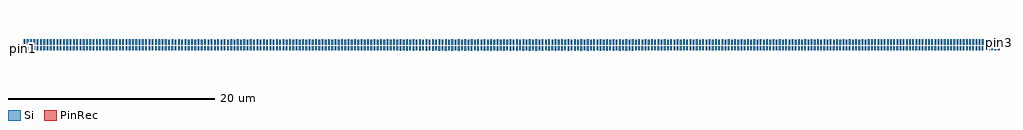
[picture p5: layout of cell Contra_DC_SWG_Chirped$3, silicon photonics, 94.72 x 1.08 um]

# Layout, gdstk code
import gdstk
lib = gdstk.Library(unit=1e-6, precision=1e-09)
def R(c, l, rs):  # rectangles x0, y0, x1, y1
    for r in rs: c.add(gdstk.rectangle(r[:2], r[2:], *l))
def A(c, l, x, y, w, h, nx, ny, dx, dy):  # array of equal rectangles
    R(c, l, [(x+i*dx, y+j*dy, x+i*dx+w, y+j*dy+h) for i in range(nx) for j in range(ny)])
Si = (1, 0)
PinRec = (1, 10)

contra_dc_swg_chirped_3 = lib.new_cell('Contra_DC_SWG_Chirped$3')
A(contra_dc_swg_chirped_3, Si, 43.325, -0.229, 0.159, 0.399, 4, 1, 0.627, 0)
A(contra_dc_swg_chirped_3, Si, 16.18, -0.206, 0.159, 0.399, 3, 1, 0.635, 0)
A(contra_dc_swg_chirped_3, Si, 77.547, -0.206, 0.157, 0.399, 3, 1, 0.617, 0)
A(contra_dc_swg_chirped_3, Si, 13.001, -0.204, 0.159, 0.399, 3, 1, 0.636, 0)
A(contra_dc_swg_chirped_3, Si, 80.63, -0.204, 0.157, 0.399, 4, 1, 0.616, 0)
A(contra_dc_swg_chirped_3, Si, 9.817, -0.203, 0.16, 0.399, 4, 1, 0.637, 0)
A(contra_dc_swg_chirped_3, Si, 83.709, -0.203, 0.157, 0.399, 3, 1, 0.615, 0)
A(contra_dc_swg_chirped_3, Si, 6.629, -0.202, 0.16, 0.399, 3, 1, 0.638, 0)
A(contra_dc_swg_chirped_3, Si, 2.798, -0.201, 0.16, 0.399, 3, 1, 0.639, 0)
A(contra_dc_swg_chirped_3, Si, 89.852, -0.201, 0.157, 0.399, 5, 1, 0.613, 0)
A(contra_dc_swg_chirped_3, Si, 0.239, -0.2, 0.16, 0.399, 3, 1, 0.64, 0)
A(contra_dc_swg_chirped_3, Si, 0.559, -0.2, 0.16, 0.4, 3, 1, 0.64, 0)
A(contra_dc_swg_chirped_3, Si, 2.478, -0.2, 0.16, 0.4, 4, 1, 0.639, 0)
A(contra_dc_swg_chirped_3, Si, 5.672, -0.2, 0.16, 0.4, 5, 1, 0.638, 0)
A(contra_dc_swg_chirped_3, Si, 12.683, -0.2, 0.159, 0.4, 4, 1, 0.636, 0)
A(contra_dc_swg_chirped_3, Si, 19.671, -0.2, 0.159, 0.4, 4, 1, 0.634, 0)
A(contra_dc_swg_chirped_3, Si, 22.84, -0.2, 0.159, 0.4, 5, 1, 0.633, 0)
A(contra_dc_swg_chirped_3, Si, 29.164, -0.2, 0.159, 0.4, 6, 1, 0.631, 0)
A(contra_dc_swg_chirped_3, Si, 36.099, -0.2, 0.159, 0.4, 5, 1, 0.629, 0)
A(contra_dc_swg_chirped_3, Si, 43.012, -0.2, 0.158, 0.4, 5, 1, 0.627, 0)
A(contra_dc_swg_chirped_3, Si, 46.773, -0.2, 0.158, 0.4, 4, 1, 0.626, 0)
A(contra_dc_swg_chirped_3, Si, 49.902, -0.2, 0.158, 0.4, 5, 1, 0.625, 0)
A(contra_dc_swg_chirped_3, Si, 53.651, -0.2, 0.158, 0.4, 3, 1, 0.624, 0)
A(contra_dc_swg_chirped_3, Si, 57.393, -0.2, 0.158, 0.4, 3, 1, 0.623, 0)
A(contra_dc_swg_chirped_3, Si, 59.884, -0.2, 0.158, 0.4, 5, 1, 0.622, 0)
A(contra_dc_swg_chirped_3, Si, 63.615, -0.2, 0.158, 0.4, 3, 1, 0.621, 0)
A(contra_dc_swg_chirped_3, Si, 66.719, -0.2, 0.158, 0.4, 4, 1, 0.62, 0)
A(contra_dc_swg_chirped_3, Si, 70.438, -0.2, 0.157, 0.4, 4, 1, 0.619, 0)
A(contra_dc_swg_chirped_3, Si, 73.532, -0.2, 0.157, 0.4, 4, 1, 0.618, 0)
A(contra_dc_swg_chirped_3, Si, 76.621, -0.2, 0.157, 0.4, 6, 1, 0.617, 0)
A(contra_dc_swg_chirped_3, Si, 80.322, -0.2, 0.157, 0.4, 5, 1, 0.616, 0)
A(contra_dc_swg_chirped_3, Si, 83.401, -0.2, 0.157, 0.4, 5, 1, 0.615, 0)
A(contra_dc_swg_chirped_3, Si, 87.09, -0.2, 0.157, 0.4, 3, 1, 0.614, 0)
A(contra_dc_swg_chirped_3, Si, 90.159, -0.2, 0.156, 0.4, 4, 1, 0.613, 0)
A(contra_dc_swg_chirped_3, Si, 50.531, 0.311, 0.158, 0.499, 3, 1, 0.625, 0)
A(contra_dc_swg_chirped_3, Si, 53.655, 0.313, 0.158, 0.499, 3, 1, 0.624, 0)
A(contra_dc_swg_chirped_3, Si, 6.311, 0.348, 0.16, 0.499, 3, 1, 0.638, 0)
A(contra_dc_swg_chirped_3, Si, 87.71, 0.348, 0.157, 0.499, 4, 1, 0.614, 0)
A(contra_dc_swg_chirped_3, Si, 0.559, 0.349, 0.16, 0.499, 3, 1, 0.64, 0)
A(contra_dc_swg_chirped_3, Si, 90.779, 0.349, 0.156, 0.499, 3, 1, 0.613, 0)
A(contra_dc_swg_chirped_3, Si, 2.798, 0.35, 0.16, 0.5, 4, 1, 0.639, 0)
A(contra_dc_swg_chirped_3, Si, 9.181, 0.35, 0.16, 0.5, 4, 1, 0.637, 0)
A(contra_dc_swg_chirped_3, Si, 13.002, 0.35, 0.159, 0.5, 4, 1, 0.636, 0)
A(contra_dc_swg_chirped_3, Si, 16.181, 0.35, 0.159, 0.5, 5, 1, 0.635, 0)
A(contra_dc_swg_chirped_3, Si, 19.989, 0.35, 0.16, 0.5, 3, 1, 0.634, 0)
A(contra_dc_swg_chirped_3, Si, 22.525, 0.35, 0.159, 0.5, 6, 1, 0.633, 0)
A(contra_dc_swg_chirped_3, Si, 28.218, 0.35, 0.159, 0.5, 3, 1, 0.632, 0)
A(contra_dc_swg_chirped_3, Si, 30.113, 0.35, 0.159, 0.5, 4, 1, 0.631, 0)
A(contra_dc_swg_chirped_3, Si, 33.267, 0.35, 0.159, 0.5, 5, 1, 0.63, 0)
A(contra_dc_swg_chirped_3, Si, 37.046, 0.35, 0.158, 0.5, 3, 1, 0.629, 0)
A(contra_dc_swg_chirped_3, Si, 41.446, 0.35, 0.158, 0.5, 3, 1, 1.255, 0)
A(contra_dc_swg_chirped_3, Si, 47.089, 0.35, 0.159, 0.5, 3, 1, 0.626, 0)
A(contra_dc_swg_chirped_3, Si, 49.593, 0.35, 0.158, 0.5, 3, 1, 0.625, 0)
A(contra_dc_swg_chirped_3, Si, 53.967, 0.35, 0.158, 0.5, 3, 1, 0.624, 0)
A(contra_dc_swg_chirped_3, Si, 63.309, 0.35, 0.158, 0.5, 5, 1, 0.621, 0)
A(contra_dc_swg_chirped_3, Si, 67.034, 0.35, 0.158, 0.5, 4, 1, 0.62, 0)
A(contra_dc_swg_chirped_3, Si, 70.753, 0.35, 0.157, 0.5, 3, 1, 0.619, 0)
A(contra_dc_swg_chirped_3, Si, 73.846, 0.35, 0.158, 0.5, 3, 1, 0.618, 0)
A(contra_dc_swg_chirped_3, Si, 80.02, 0.35, 0.157, 0.5, 5, 1, 0.616, 0)
A(contra_dc_swg_chirped_3, Si, 83.715, 0.35, 0.157, 0.5, 4, 1, 0.615, 0)
A(contra_dc_swg_chirped_3, Si, 86.789, 0.35, 0.157, 0.5, 5, 1, 0.614, 0)
A(contra_dc_swg_chirped_3, Si, 90.472, 0.35, 0.157, 0.5, 3, 1, 0.613, 0)
R(contra_dc_swg_chirped_3, Si, [(47.712,-0.23,47.87,0.17), (45.833,-0.229,45.991,0.17), (46.459,-0.229,46.618,0.17), (47.086,-0.229,47.244,0.17), (48.338,-0.229,48.496,0.17), (48.964,-0.229,49.122,0.17), (49.589,-0.229,49.747,0.17), (50.214,-0.229,50.373,0.17), (50.84,-0.229,50.998,0.17), (51.465,-0.229,51.623,0.17), (52.089,-0.229,52.248,0.17), (41.442,-0.228,41.601,0.171), (42.07,-0.228,42.229,0.171), (42.698,-0.228,42.856,0.171), (52.714,-0.228,52.872,0.171), (53.338,-0.228,53.497,0.171), (53.963,-0.228,54.121,0.171), (40.186,-0.227,40.345,0.172), (40.815,-0.227,40.973,0.172), (54.587,-0.227,54.745,0.172), (55.211,-0.227,55.369,0.172), (38.93,-0.226,39.088,0.173), (39.558,-0.226,39.717,0.173), (55.834,-0.226,55.992,0.173), (56.458,-0.226,56.616,0.173), (37.672,-0.225,37.831,0.174), (38.301,-0.225,38.459,0.174), (57.081,-0.225,57.239,0.174), (57.704,-0.225,57.862,0.174), (36.414,-0.224,36.572,0.175), (37.043,-0.224,37.202,0.175), (58.327,-0.224,58.485,0.175), (58.95,-0.224,59.108,0.175), (35.155,-0.223,35.313,0.176), (35.784,-0.223,35.943,0.176), (59.573,-0.223,59.73,0.176), (60.195,-0.223,60.353,0.176), (33.895,-0.222,34.054,0.177), (34.525,-0.222,34.683,0.177), (60.817,-0.222,60.975,0.177), (61.439,-0.222,61.597,0.177), (33.265,-0.221,33.423,0.178), (62.061,-0.221,62.219,0.178), (32.004,-0.22,32.162,0.179), (32.634,-0.22,32.793,0.179), (62.683,-0.22,62.84,0.179), (63.304,-0.22,63.462,0.179), (31.373,-0.219,31.532,0.18), (63.926,-0.219,64.083,0.18), (30.111,-0.218,30.27,0.181), (30.742,-0.218,30.901,0.181), (64.547,-0.218,64.704,0.181), (65.168,-0.218,65.325,0.181), (29.48,-0.217,29.638,0.182), (65.788,-0.217,65.946,0.182), (28.216,-0.216,28.375,0.183), (28.848,-0.216,29.007,0.183), (66.409,-0.216,66.566,0.183), (67.029,-0.216,67.187,0.183), (27.585,-0.215,27.744,0.184), (67.649,-0.215,67.807,0.184), (26.32,-0.214,26.479,0.185), (26.953,-0.214,27.112,0.185), (68.269,-0.214,68.427,0.185), (68.889,-0.214,69.047,0.185), (25.055,-0.213,25.214,0.186), (25.688,-0.213,25.847,0.186), (69.509,-0.213,69.666,0.186), (70.128,-0.213,70.286,0.186), (24.423,-0.212,24.582,0.187), (70.747,-0.212,70.905,0.187), (23.156,-0.211,23.316,0.188), (23.79,-0.211,23.949,0.188), (71.366,-0.211,71.524,0.188), (71.985,-0.211,72.143,0.188), (21.89,-0.21,22.049,0.189), (22.523,-0.21,22.682,0.189), (72.604,-0.21,72.761,0.189), (73.222,-0.21,73.38,0.189), (20.622,-0.209,20.781,0.19), (21.256,-0.209,21.415,0.19), (73.841,-0.209,73.998,0.19), (74.459,-0.209,74.616,0.19), (19.354,-0.208,19.513,0.191), (19.988,-0.208,20.147,0.191), (75.077,-0.208,75.234,0.191), (75.695,-0.208,75.852,0.191), (18.085,-0.207,18.244,0.192), (18.719,-0.207,18.878,0.192), (76.312,-0.207,76.469,0.192), (76.93,-0.207,77.087,0.192), (14.909,-0.205,15.068,0.194), (15.544,-0.205,15.704,0.194), (79.397,-0.205,79.554,0.194), (80.014,-0.205,80.171,0.194), (12.364,-0.204,12.524,0.195), (83.093,-0.203,83.25,0.196), (8.543,-0.202,8.702,0.197), (9.18,-0.202,9.34,0.197), (85.554,-0.202,85.71,0.197), (86.168,-0.202,86.325,0.197), (86.783,-0.202,86.939,0.197), (87.397,-0.202,87.554,0.197), (88.011,-0.202,88.168,0.197), (2.158,-0.201,2.318,0.198), (4.714,-0.201,4.874,0.198), (5.353,-0.201,5.513,0.198), (5.991,-0.201,6.151,0.198), (88.625,-0.201,88.781,0.198), (89.238,-0.201,89.395,0.198), (-0.08,-0.2,0.08,0.2), (5.034,-0.2,5.193,0.2), (8.861,-0.2,9.021,0.2), (9.499,-0.2,9.658,0.2), (10.136,-0.2,10.296,0.2), (10.773,-0.2,10.933,0.2), (11.41,-0.2,11.569,0.2), (12.046,-0.2,12.206,0.2), (15.226,-0.2,15.386,0.2), (15.862,-0.2,16.021,0.2), (16.497,-0.2,16.657,0.2), (17.132,-0.2,17.292,0.2), (17.767,-0.2,17.926,0.2), (18.402,-0.2,18.561,0.2), (19.036,-0.2,19.196,0.2), (22.206,-0.2,22.366,0.2), (26.004,-0.2,26.163,0.2), (26.636,-0.2,26.795,0.2), (27.269,-0.2,27.428,0.2), (27.901,-0.2,28.059,0.2), (28.532,-0.2,28.691,0.2), (32.949,-0.2,33.108,0.2), (33.58,-0.2,33.738,0.2), (34.21,-0.2,34.369,0.2), (34.84,-0.2,34.998,0.2), (35.469,-0.2,35.628,0.2), (39.244,-0.2,39.402,0.2), (39.872,-0.2,40.031,0.2), (40.5,-0.2,40.659,0.2), (41.129,-0.2,41.287,0.2), (41.756,-0.2,41.915,0.2), (42.384,-0.2,42.543,0.2), (46.146,-0.2,46.305,0.2), (49.276,-0.2,49.435,0.2), (53.026,-0.2,53.184,0.2), (55.523,-0.2,55.68,0.2), (56.146,-0.2,56.304,0.2), (56.77,-0.2,56.927,0.2), (59.261,-0.2,59.419,0.2), (62.994,-0.2,63.151,0.2), (65.478,-0.2,65.635,0.2), (66.099,-0.2,66.256,0.2), (69.199,-0.2,69.356,0.2), (69.818,-0.2,69.976,0.2), (72.913,-0.2,73.071,0.2), (76.003,-0.2,76.161,0.2), (86.475,-0.2,86.632,0.2), (88.932,-0.2,89.088,0.2), (89.545,-0.2,89.702,0.2), (92.61,-0.2,92.767,0.2), (92.917,-0.2,93.073,0.199), (93.223,-0.2,93.379,0.2), (93.529,-0.2,93.686,0.199), (93.835,-0.2,93.992,0.2), (94.141,-0.2,94.298,0.199), (94.454,-0.2,94.611,0.2), (48.028,0.31,48.187,0.81), (44.269,0.311,44.428,0.81), (44.896,0.311,45.055,0.81), (45.523,0.311,45.681,0.81), (46.15,0.311,46.308,0.81), (46.776,0.311,46.934,0.81), (47.402,0.311,47.561,0.81), (48.654,0.311,48.812,0.81), (49.28,0.311,49.438,0.81), (49.905,0.311,50.064,0.81), (43.015,0.312,43.173,0.811), (43.642,0.312,43.8,0.811), (52.406,0.312,52.564,0.811), (53.03,0.312,53.188,0.811), (41.132,0.313,41.29,0.812), (41.759,0.313,41.918,0.812), (42.387,0.313,42.546,0.812), (40.503,0.314,40.662,0.813), (55.527,0.314,55.685,0.813), (39.247,0.315,39.405,0.814), (39.875,0.315,40.034,0.814), (56.15,0.315,56.308,0.814), (56.774,0.315,56.932,0.814), (38.618,0.316,38.777,0.815), (57.397,0.316,57.555,0.815), (37.36,0.317,37.519,0.816), (37.989,0.317,38.148,0.816), (58.02,0.317,58.178,0.816), (58.643,0.317,58.801,0.816), (36.731,0.318,36.89,0.817), (59.266,0.318,59.424,0.817), (36.102,0.319,36.26,0.818), (59.888,0.319,60.046,0.818), (34.842,0.32,35.001,0.819), (35.472,0.32,35.631,0.819), (60.511,0.32,60.668,0.819), (61.133,0.32,61.291,0.819), (34.212,0.321,34.371,0.82), (61.755,0.321,61.912,0.82), (33.582,0.322,33.741,0.821), (62.377,0.322,62.534,0.821), (32.952,0.323,33.111,0.822), (62.998,0.323,63.156,0.822), (32.321,0.324,32.48,0.823), (63.62,0.324,63.777,0.823), (31.06,0.325,31.219,0.824), (31.691,0.325,31.849,0.824), (64.241,0.325,64.398,0.824), (64.862,0.325,65.019,0.824), (30.429,0.326,30.588,0.825), (65.483,0.326,65.64,0.825), (29.797,0.327,29.956,0.826), (66.103,0.327,66.261,0.826), (29.166,0.328,29.325,0.827), (66.724,0.328,66.881,0.827), (28.534,0.329,28.693,0.828), (67.344,0.329,67.502,0.828), (27.903,0.33,28.062,0.829), (67.964,0.33,68.122,0.829), (26.638,0.331,26.797,0.83), (27.271,0.331,27.43,0.83), (68.584,0.331,68.742,0.83), (69.204,0.331,69.361,0.83), (26.006,0.332,26.165,0.831), (69.824,0.332,69.981,0.831), (25.373,0.333,25.533,0.832), (70.443,0.333,70.6,0.832), (24.741,0.334,24.9,0.833), (71.062,0.334,71.22,0.833), (23.475,0.335,23.634,0.834), (24.108,0.335,24.267,0.834), (71.681,0.335,71.839,0.834), (72.3,0.335,72.457,0.834), (22.841,0.336,23.001,0.835), (72.919,0.336,73.076,0.835), (22.208,0.337,22.367,0.836), (73.537,0.337,73.694,0.836), (20.94,0.338,21.1,0.837), (21.574,0.338,21.734,0.837), (74.155,0.338,74.313,0.837), (74.773,0.338,74.931,0.837), (20.306,0.339,20.466,0.838), (75.391,0.339,75.549,0.838), (19.038,0.34,19.197,0.839), (19.672,0.34,19.831,0.839), (76.009,0.34,76.166,0.839), (76.627,0.34,76.784,0.839), (17.768,0.341,17.928,0.84), (18.403,0.341,18.563,0.84), (77.244,0.341,77.401,0.84), (77.861,0.341,78.018,0.84), (16.498,0.342,16.658,0.841), (17.133,0.342,17.293,0.841), (78.478,0.342,78.635,0.841), (79.095,0.342,79.252,0.841), (15.227,0.343,15.387,0.842), (15.863,0.343,16.022,0.842), (79.711,0.343,79.869,0.842), (80.328,0.343,80.485,0.842), (13.956,0.344,14.115,0.843), (14.592,0.344,14.751,0.843), (80.944,0.344,81.101,0.843), (81.56,0.344,81.717,0.843), (12.047,0.345,12.207,0.844), (12.684,0.345,12.843,0.844), (13.32,0.345,13.479,0.844), (82.176,0.345,82.333,0.844), (82.792,0.345,82.949,0.844), (83.407,0.345,83.564,0.844), (10.137,0.346,10.296,0.845), (10.774,0.346,10.933,0.845), (11.41,0.346,11.57,0.845), (84.022,0.346,84.179,0.845), (84.638,0.346,84.794,0.845), (85.253,0.346,85.409,0.845), (8.225,0.347,8.384,0.846), (8.862,0.347,9.022,0.846), (9.5,0.347,9.659,0.846), (85.867,0.347,86.024,0.846), (86.482,0.347,86.639,0.846), (87.096,0.347,87.253,0.846), (5.034,0.348,5.194,0.847), (5.673,0.348,5.832,0.847), (90.165,0.348,90.322,0.847), (-0.078,0.349,0.078,0.848), (2.478,0.349,2.638,0.848), (3.117,0.349,3.277,0.848), (3.757,0.349,3.916,0.848), (4.395,0.349,4.555,0.848), (92.617,0.349,92.774,0.848), (93.23,0.349,93.386,0.848), (93.842,0.349,93.999,0.848), (94.454,0.349,94.611,0.848), (0.24,0.35,0.4,0.85), (0.879,0.35,1.039,0.85), (1.519,0.35,1.679,0.85), (2.159,0.35,2.318,0.85), (5.353,0.35,5.513,0.85), (5.992,0.35,6.151,0.85), (6.63,0.35,6.79,0.85), (7.268,0.35,7.428,0.85), (7.906,0.35,8.065,0.85), (8.543,0.35,8.703,0.85), (11.729,0.35,11.888,0.85), (12.365,0.35,12.525,0.85), (15.545,0.35,15.705,0.85), (19.355,0.35,19.514,0.85), (21.891,0.35,22.05,0.85), (26.322,0.35,26.481,0.85), (26.954,0.35,27.114,0.85), (27.587,0.35,27.746,0.85), (32.637,0.35,32.795,0.85), (36.416,0.35,36.575,0.85), (38.932,0.35,39.091,0.85), (39.561,0.35,39.72,0.85), (40.189,0.35,40.348,0.85), (40.818,0.35,40.976,0.85), (42.073,0.35,42.232,0.85), (43.328,0.35,43.487,0.85), (44.583,0.35,44.741,0.85), (45.21,0.35,45.368,0.85), (45.836,0.35,45.995,0.85), (46.463,0.35,46.621,0.85), (48.967,0.35,49.125,0.85), (51.468,0.35,51.627,0.85), (52.093,0.35,52.251,0.85), (52.718,0.35,52.876,0.85), (53.342,0.35,53.5,0.85), (55.838,0.35,55.996,0.85), (56.462,0.35,56.62,0.85), (57.085,0.35,57.243,0.85), (57.709,0.35,57.866,0.85), (58.332,0.35,58.489,0.85), (58.954,0.35,59.112,0.85), (59.577,0.35,59.735,0.85), (60.199,0.35,60.357,0.85), (60.822,0.35,60.979,0.85), (61.444,0.35,61.602,0.85), (62.066,0.35,62.223,0.85), (62.687,0.35,62.845,0.85), (66.414,0.35,66.571,0.85), (69.514,0.35,69.671,0.85), (70.133,0.35,70.291,0.85), (72.609,0.35,72.767,0.85), (73.228,0.35,73.385,0.85), (75.7,0.35,75.857,0.85), (76.318,0.35,76.475,0.85), (76.935,0.35,77.092,0.85), (77.553,0.35,77.71,0.85), (78.17,0.35,78.327,0.85), (78.786,0.35,78.944,0.85), (79.403,0.35,79.56,0.85), (83.099,0.35,83.256,0.85), (86.175,0.35,86.331,0.85), (89.859,0.35,90.015,0.85), (92.311,0.35,92.467,0.85), (92.924,0.35,93.08,0.85), (93.536,0.35,93.692,0.85), (94.148,0.35,94.305,0.85)])
contra_dc_swg_chirped_3.add(gdstk.FlexPath([(-0.07,0),(-0.09,0)], 0.4, ends="flush", simple_path=True, layer=1, datatype=10))  # PinRec
contra_dc_swg_chirped_3.add(gdstk.FlexPath([(-0.07,0.599),(-0.09,0.599)], 0.5, ends="flush", simple_path=True, layer=1, datatype=10))  # PinRec
contra_dc_swg_chirped_3.add(gdstk.FlexPath([(94.612,0.599),(94.632,0.599)], 0.5, ends="flush", simple_path=True, layer=1, datatype=10))  # PinRec
contra_dc_swg_chirped_3.add(gdstk.FlexPath([(94.612,0),(94.632,0)], 0.4, ends="flush", simple_path=True, layer=1, datatype=10))  # PinRec
contra_dc_swg_chirped_3.add(gdstk.Label('pin1', (-0.08,0), layer=1, texttype=10))
contra_dc_swg_chirped_3.add(gdstk.Label('pin2', (-0.08,0.599), layer=1, texttype=10))
contra_dc_swg_chirped_3.add(gdstk.Label('pin3', (94.622,0.599), layer=1, texttype=10))
contra_dc_swg_chirped_3.add(gdstk.Label('pin4', (94.622,0), layer=1, texttype=10))

lib.write_gds('Contra_DC_SWG_Chirped_3.gds')
